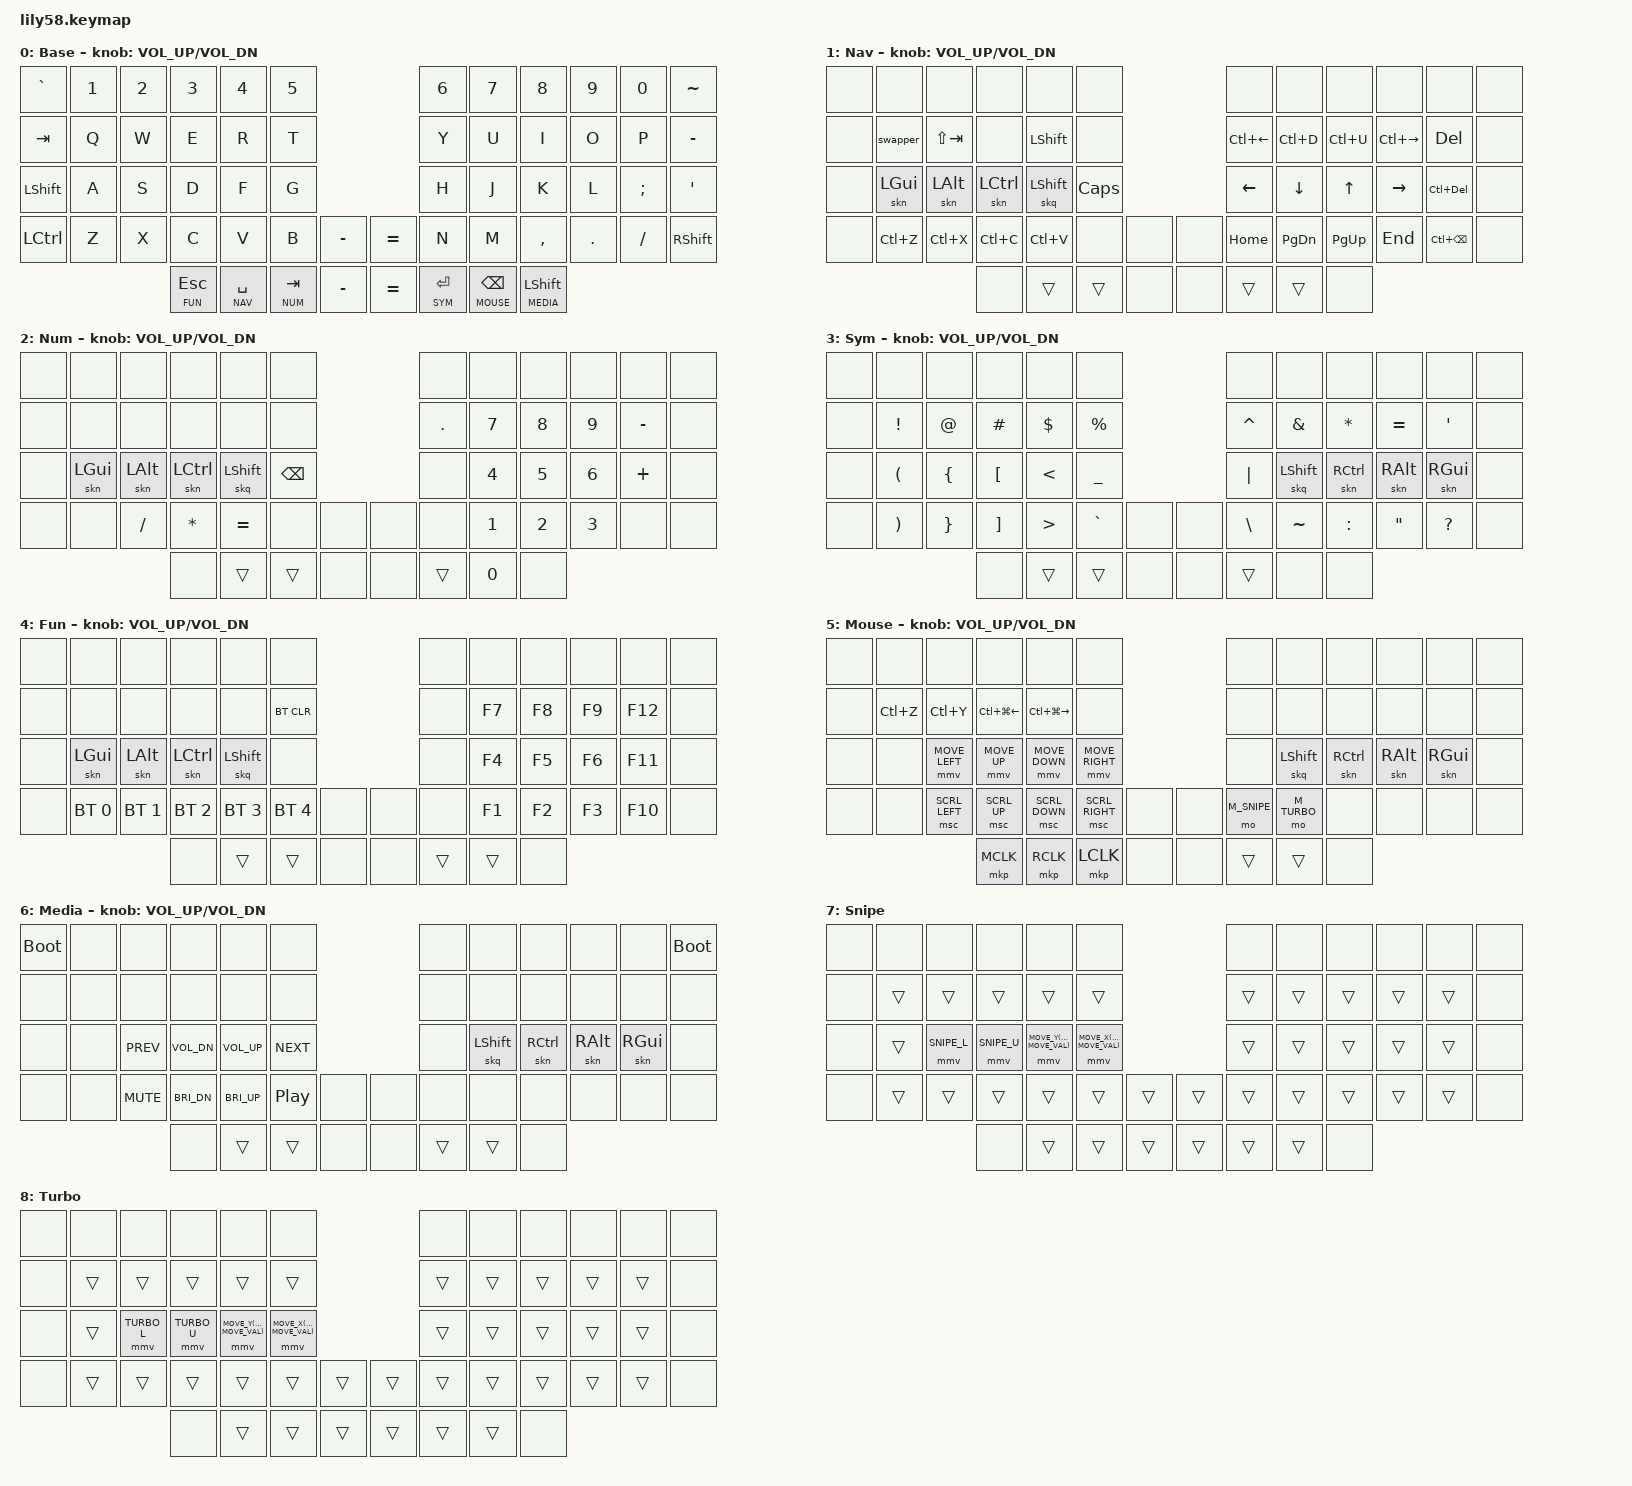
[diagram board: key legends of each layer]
/*
 * Silakka54 "双核驱动" 过渡版 (冗余常规键 + Callum OSM)
 * 进化路线：Lily58 (58键) → Corne (36键)
 *
 * 核心特色：
 * 1. 外围保留全套标准键位（物理 Shift/Ctrl/数字行）
 * 2. 核心区保留 Callum-style OSM 与 Vim 导航（追求极致编码效率）
 * 3. 严格遵循 3 拇指原则
 *
 * Layer 0: Base     - QWERTY + 外围冗余（物理 Shift/Ctrl/数字行）
 * Layer 1: Nav      - 左手 OSM 修饰键 + 右手 Vim HJKL + 跳跃 + 翻页
 * Layer 2: Numpad   - 左手算术运算 + 右手纯数字九宫格
 * Layer 3: Symbols  - 左手符号区 + 右手 OSM 修饰键
 * Layer 4: Function - 左手 OSM/BT + 右手 F 键九宫格
 * Layer 5: Mouse    - 左手鼠标移动/滚轮/点击 + 右手 OSM
 * Layer 6: Media    - 左手媒体/音量/亮度 + 右手 OSM
 *
 * SPDX-License-Identifier: MIT
 */

#include <behaviors.dtsi>
#include <dt-bindings/zmk/keys.h>
#include <dt-bindings/zmk/bt.h>
#include <dt-bindings/zmk/outputs.h>

// 必须在引入 pointing.h 之前定义，以此覆写系统默认的属性
#define ZMK_POINTING_DEFAULT_MOVE_VAL 1500  // 提高基础移动速度 (默认 600)
#define ZMK_POINTING_DEFAULT_SCRL_VAL 20    // 提高滚轮速度 (默认 10)
#include <dt-bindings/zmk/pointing.h>

// Snipe 模式：1/4 速度（精准微操）
#define SNIPE_MOVE_VAL (ZMK_POINTING_DEFAULT_MOVE_VAL / 4)
#define SNIPE_U MOVE_Y(-SNIPE_MOVE_VAL)
#define SNIPE_D MOVE_Y(SNIPE_MOVE_VAL)
#define SNIPE_L MOVE_X(-SNIPE_MOVE_VAL)
#define SNIPE_R MOVE_X(SNIPE_MOVE_VAL)

// Turbo 模式：2x 速度（快速穿梭）
#define TURBO_MOVE_VAL (ZMK_POINTING_DEFAULT_MOVE_VAL * 2)
#define TURBO_U MOVE_Y(-TURBO_MOVE_VAL)
#define TURBO_D MOVE_Y(TURBO_MOVE_VAL)
#define TURBO_L MOVE_X(-TURBO_MOVE_VAL)
#define TURBO_R MOVE_X(TURBO_MOVE_VAL)

#define BASE  0
#define NAV   1
#define NUM   2
#define SYM   3
#define FUN   4
#define MOUSE 5
#define MEDIA 6
#define M_SNIPE 7
#define M_TURBO 8

// 覆写 mmv 和 msc 的默认属性
&mmv {
    acceleration-exponent = <1>;      // 1为线性，2为二次加速
    time-to-max-speed-ms = <500>;     // 达到最大速度的时间
    delay-ms = <0>;
};

&msc {
    acceleration-exponent = <1>;      // 1为线性，2为二次加速
    time-to-max-speed-ms = <500>;     // 达到最大速度的时间
    delay-ms = <0>;
};

// Caps Word：允许连字符不中断大写（支持 MY-CONST 风格命名）
&caps_word {
    continue-list = <UNDERSCORE MINUS BSPC DEL>;
};

/ {
    behaviors {
        // Callum-style 快速释放 OSM（解决连续打字修饰键粘连）
        skq: sticky_key_quick_release {
            compatible = "zmk,behavior-sticky-key";
            #binding-cells = <1>;
            bindings = <&kp>;
            release-after-ms = <1000>;
            quick-release;
            ignore-modifiers;
        };

        // 普通 OSM（用于 Ctrl/Alt/GUI，支持链式组合）
        skn: sticky_key_normal {
            compatible = "zmk,behavior-sticky-key";
            #binding-cells = <1>;
            bindings = <&kp>;
            release-after-ms = <1000>;
            ignore-modifiers;
        };

        // 拇指专用 Layer-Tap（快速打字防误触）
        tlt: thumb_layer_tap {
            compatible = "zmk,behavior-hold-tap";
            #binding-cells = <2>;
            flavor = "balanced";
            tapping-term-ms = <200>;
            quick-tap-ms = <150>;
            bindings = <&mo>, <&kp>;
        };
    };

    macros {
        swapper: swapper {
            compatible = "zmk,behavior-macro";
            #binding-cells = <0>;
            wait-ms = <30>;
            tap-ms = <30>;
            bindings
                = <&macro_press &kp LALT>
                , <&macro_tap &kp TAB>
                , <&macro_pause_for_release>
                , <&macro_release &kp LALT>
                ;
        };
    };

    combos {
        compatible = "zmk,combos";
        // S + D = Escape（退出 Insert 模式）
        combo_esc {
            timeout-ms = <50>;
            key-positions = <26 27>;  // S 和 D 在 Lily58 矩阵中的位置
            bindings = <&kp ESC>;
            layers = <BASE>;
            require-prior-idle-ms = <200>;
        };


        // J + K = LSHFT (单次中英切换 / 长按 Shift)
        combo_lshft {
            timeout-ms = <50>;
            key-positions = <31 32>;  // J 和 K
            bindings = <&kp LSHFT>;
            layers = <BASE>;
            require-prior-idle-ms = <150>;
        };

        // 左双拇指 Combo：内侧双拇指(SPACE+TAB)同按 -> 进入 FUN 层 (ESC 已由 S+D 承载)
        combo_fun_layer {
            timeout-ms = <50>;
            key-positions = <51 52>;
            bindings = <&mo FUN>;
            layers = <BASE>;
        };

        // 右双拇指 Combo：内侧双拇指(ENTER+BSPC)同按 -> 进入 MEDIA 层 (LSHFT 已由 J+K 承载)
        combo_media_layer {
            timeout-ms = <50>;
            key-positions = <55 56>;
            bindings = <&mo MEDIA>;
            layers = <BASE>;
        };

    };

    keymap {
        compatible = "zmk,keymap";

        default_layer {
            display-name = "Base";
// ┌─────┬─────┬─────┬─────┬─────┬─────┐               ┌─────┬─────┬─────┬─────┬─────┬─────┐
// │  `  │  1  │  2  │  3  │  4  │  5  │               │  6  │  7  │  8  │  9  │  0  │  ~  │
// ├─────┼─────┼─────┼─────┼─────┼─────┤               ├─────┼─────┼─────┼─────┼─────┼─────┤
// │ TAB │  Q  │  W  │  E  │  R  │  T  │               │  Y  │  U  │  I  │  O  │  P  │  -  │
// ├─────┼─────┼─────┼─────┼─────┼─────┤               ├─────┼─────┼─────┼─────┼─────┼─────┤
// │LSHFT│  A  │  S  │  D  │  F  │  G  │               │  H  │  J  │  K  │  L  │  ;  │  '  │
// ├─────┼─────┼─────┼─────┼─────┼─────┼─────┐   ┌─────┼─────┼─────┼─────┼─────┼─────┼─────┤
// │CTRL │  Z  │  X  │  C  │  V  │  B  │  -  │   │  =  │  N  │  M  │  ,  │  .  │  /  │RSHFT│
// └─────┴─────┴─────┼─────┼─────┼─────┼─────┤   ├─────┼─────┼─────┼─────┴─────┴─────┴─────┘
//                   │ ESC │SPACE│ TAB │  -  │   │  =  │ENTER│BSPC │LSHFT│
//                   │(FUN)│(NAV)│(NUM)│     │   │     │(SYM)│(MOU)│(MED)│
//                   └─────┴─────┴─────┴─────┘   └─────┴─────┴─────┴─────┘
            bindings = <
&kp GRAVE  &kp N1 &kp N2 &kp N3        &kp N4          &kp N5                             &kp N6        &kp N7            &kp N8            &kp N9  &kp N0   &kp TILDE
&kp TAB    &kp Q  &kp W  &kp E         &kp R           &kp T                              &kp Y         &kp U             &kp I             &kp O   &kp P    &kp MINUS
&kp LSHFT  &kp A  &kp S  &kp D         &kp F           &kp G                              &kp H         &kp J             &kp K             &kp L   &kp SEMI &kp SQT
&kp LCTRL  &kp Z        &kp X  &kp C  &kp V           &kp B  &kp MINUS     &kp EQUAL     &kp N         &kp M             &kp COMMA         &kp DOT &kp FSLH &kp RSHFT
                          &tlt FUN ESC  &tlt NAV SPACE  &tlt NUM TAB   &kp MINUS  &kp EQUAL      &tlt SYM RET  &tlt MOUSE BSPC   &tlt MEDIA LSHFT
            
            >;

            sensor-bindings = <&inc_dec_kp C_VOL_UP C_VOL_DN>;
        };

        nav_layer {
            display-name = "Nav";
// ┌─────┬─────┬─────┬─────┬─────┬─────┐               ┌─────┬─────┬─────┬─────┬─────┬─────┐
// │     │     │     │     │     │     │               │     │     │     │     │     │     │
// ├─────┼─────┼─────┼─────┼─────┼─────┤               ├─────┼─────┼─────┼─────┼─────┼─────┤
// │     │ SWP │S-TAB│none │LSHFT│none │               │C(←) │ C-D │ C-U │C(→) │ DEL │     │
// ├─────┼─────┼─────┼─────┼─────┼─────┤               ├─────┼─────┼─────┼─────┼─────┼─────┤
// │     │ GUI │ ALT │CTRL │LSHFT│CAPW │               │  ←  │  ↓  │  ↑  │  →  │C(DEL)│    │
// ├─────┼─────┼─────┼─────┼─────┼─────┼─────┐   ┌─────┼─────┼─────┼─────┼─────┼─────┼─────┤
// │     │C(Z) │C(X) │C(C) │C(V) │     │none │   │none │HOME │PgDn │PgUp │ END │C(BS)│     │
// └─────┴─────┴─────┼─────┼─────┼─────┼─────┤   ├─────┼─────┼─────┼─────┴─────┴─────┴─────┘
//                   │     │▓▓▓▓▓│     │none │   │none │     │     │     │
//                   └─────┴─────┴─────┴─────┘   └─────┴─────┴─────┴─────┘
            bindings = <
&none &none     &none       &none     &none     &none                   &none       &none     &none     &none        &none       &none
&none &swapper   &kp LS(TAB)  &none    &kp LSHFT  &none                 &kp LC(LEFT) &kp LC(D)  &kp LC(U)  &kp LC(RIGHT) &kp DEL      &none
&none &skn LGUI   &skn LALT     &skn LCTRL  &skq LSHFT &kp CAPS               &kp LEFT     &kp DOWN   &kp UP     &kp RIGHT     &kp LC(DEL)  &none
&none &kp LC(Z)  &kp LC(X)    &kp LC(C)  &kp LC(V)  &none  &none    &none    &kp HOME     &kp PG_DN  &kp PG_UP  &kp END       &kp LC(BSPC) &none
                               &none     &trans     &trans &none    &none    &trans       &trans     &none
            
            >;

            sensor-bindings = <&inc_dec_kp C_VOL_UP C_VOL_DN>;
        };

        num_layer {
            display-name = "Num";
// ┌─────┬─────┬─────┬─────┬─────┬─────┐               ┌─────┬─────┬─────┬─────┬─────┬─────┐
// │     │     │     │     │     │     │               │     │     │     │     │     │     │
// ├─────┼─────┼─────┼─────┼─────┼─────┤               ├─────┼─────┼─────┼─────┼─────┼─────┤
// │     │     │     │     │     │     │               │  .  │  7  │  8  │  9  │  -  │     │
// ├─────┼─────┼─────┼─────┼─────┼─────┤               ├─────┼─────┼─────┼─────┼─────┼─────┤
// │     │ GUI │ ALT │CTRL │LSHFT│BSPC │               │     │  4  │  5  │  6  │  +  │     │
// ├─────┼─────┼─────┼─────┼─────┼─────┼─────┐   ┌─────┼─────┼─────┼─────┼─────┼─────┼─────┤
// │     │     │  /  │  *  │  =  │     │none │   │none │     │  1  │  2  │  3  │     │     │
// └─────┴─────┴─────┼─────┼─────┼─────┼─────┤   ├─────┼─────┼─────┼─────┴─────┴─────┴─────┘
//                   │     │     │▓▓▓▓▓│none │   │none │     │  0  │     │
//                   └─────┴─────┴─────┴─────┘   └─────┴─────┴─────┴─────┘
            bindings = <
&none &none    &none     &none        &none     &none                    &none &none &none &none &none    &none
&none &none    &none     &none        &none     &none                    &kp DOT &kp N7 &kp N8 &kp N9 &kp MINUS &none
&none &skn LGUI  &skn LALT  &skn LCTRL   &skq LSHFT &kp BSPC              &none  &kp N4 &kp N5 &kp N6 &kp PLUS  &none
&none &none    &kp FSLH  &kp ASTRK   &kp EQUAL &none  &none    &none   &none  &kp N1 &kp N2 &kp N3 &none     &none
                          &none       &trans    &trans &none    &none   &trans &kp N0 &none
            
            >;

            sensor-bindings = <&inc_dec_kp C_VOL_UP C_VOL_DN>;
        };

        sym_layer {
            display-name = "Sym";
// ┌─────┬─────┬─────┬─────┬─────┬─────┐               ┌─────┬─────┬─────┬─────┬─────┬─────┐
// │     │     │     │     │     │     │               │     │     │     │     │     │     │
// ├─────┼─────┼─────┼─────┼─────┼─────┤               ├─────┼─────┼─────┼─────┼─────┼─────┤
// │     │  !  │  @  │  #  │  $  │  %  │               │  ^  │  &  │  *  │  =  │  '  │     │
// ├─────┼─────┼─────┼─────┼─────┼─────┤               ├─────┼─────┼─────┼─────┼─────┼─────┤
// │     │  (  │  {  │  [  │  <  │  _  │               │  |  │LSHFT│CTRL │ ALT │ GUI │     │
// ├─────┼─────┼─────┼─────┼─────┼─────┼─────┐   ┌─────┼─────┼─────┼─────┼─────┼─────┼─────┤
// │     │  )  │  }  │  ]  │  >  │  `  │none │   │none │  \  │  ~  │  :  │  "  │  ?  │     │
// └─────┴─────┴─────┼─────┼─────┼─────┼─────┤   ├─────┼─────┼─────┼─────┴─────┴─────┴─────┘
//                   │     │     │     │none │   │none │▓▓▓▓▓│     │     │
//                   └─────┴─────┴─────┴─────┘   └─────┴─────┴─────┴─────┘
            bindings = <
&none &none    &none   &none   &none &none                    &none    &none      &none     &none      &none   &none
&none &kp EXCL  &kp AT   &kp HASH &kp DLLR &kp PRCNT             &kp CARET &kp AMPS    &kp ASTRK  &kp EQUAL   &kp SQT  &none
&none &kp LPAR  &kp LBRC &kp LBKT &kp LT   &kp UNDER             &kp PIPE  &skq LSHFT  &skn RCTRL  &skn RALT    &skn RGUI  &none
&none &kp RPAR  &kp RBRC &kp RBKT &kp GT   &kp GRAVE &none &none &kp BSLH  &kp TILDE   &kp COLON  &kp DQT     &kp QMARK &none
                          &none   &trans   &trans    &none &none &trans &none       &none
            
            >;

            sensor-bindings = <&inc_dec_kp C_VOL_UP C_VOL_DN>;
        };

        fun_layer {
            display-name = "Fun";
// ┌─────┬─────┬─────┬─────┬─────┬─────┐               ┌─────┬─────┬─────┬─────┬─────┬─────┐
// │     │     │     │     │     │     │               │     │     │     │     │     │     │
// ├─────┼─────┼─────┼─────┼─────┼─────┤               ├─────┼─────┼─────┼─────┼─────┼─────┤
// │     │CANCL│ BLE │ USB │     │BTCLR│               │     │ F7  │ F8  │ F9  │ F12 │     │
// ├─────┼─────┼─────┼─────┼─────┼─────┤               ├─────┼─────┼─────┼─────┼─────┼─────┤
// │     │ GUI │ ALT │CTRL │LSHFT│     │               │     │ F4  │ F5  │ F6  │ F11 │     │
// ├─────┼─────┼─────┼─────┼─────┼─────┼─────┐   ┌─────┼─────┼─────┼─────┼─────┼─────┼─────┤
// │     │ BT0 │ BT1 │ BT2 │ BT3 │ BT4 │none │   │none │     │ F1  │ F2  │ F3  │ F10 │     │
// └─────┴─────┴─────┼─────┼─────┼─────┼─────┤   ├─────┼─────┼─────┼─────┴─────┴─────┴─────┘
//                   │▓▓▓▓▓│     │     │none │   │none │     │     │     │
//                   └─────┴─────┴─────┴─────┘   └─────┴─────┴─────┴─────┘
            bindings = <
&none &none       &none       &none       &none       &none                       &none &none &none &none &none  &none
&none &none  &none  &none  &none        &bt BT_CLR                   &none  &kp F7 &kp F8 &kp F9 &kp F12 &none
&none &skn LGUI     &skn LALT     &skn LCTRL    &skq LSHFT   &none                       &none  &kp F4 &kp F5 &kp F6 &kp F11 &none
&none &bt BT_SEL 0 &bt BT_SEL 1 &bt BT_SEL 2 &bt BT_SEL 3 &bt BT_SEL 4   &none    &none  &none  &kp F1 &kp F2 &kp F3 &kp F10 &none
                                 &none       &trans       &trans     &none    &none   &trans &trans &none
            
            >;

            sensor-bindings = <&inc_dec_kp C_VOL_UP C_VOL_DN>;
        };

        mouse_layer {
            display-name = "Mouse";
// ┌─────┬─────┬─────┬─────┬─────┬─────┐               ┌─────┬─────┬─────┬─────┬─────┬─────┐
// │     │     │     │     │     │     │               │     │     │     │     │     │     │
// ├─────┼─────┼─────┼─────┼─────┼─────┤               ├─────┼─────┼─────┼─────┼─────┼─────┤
// │     │UNDO │REDO │VD_L │VD_R │     │               │     │     │     │     │     │     │
// ├─────┼─────┼─────┼─────┼─────┼─────┤               ├─────┼─────┼─────┼─────┼─────┼─────┤
// │     │     │ ML  │ MU  │ MD  │ MR  │               │     │LSHFT│CTRL │ ALT │ GUI │     │
// ├─────┼─────┼─────┼─────┼─────┼─────┼─────┐   ┌─────┼─────┼─────┼─────┼─────┼─────┼─────┤
// │     │     │WH_L │WH_U │WH_D │WH_R │none │   │none │SNIPE│TURBO│     │     │     │     │
// └─────┴─────┴─────┼─────┼─────┼─────┼─────┤   ├─────┼─────┼─────┼─────┴─────┴─────┴─────┘
//                   │RCLK │MCLK │LCLK │none │   │none │     │▓▓▓▓▓│     │
//                   └─────┴─────┴─────┴─────┘   └─────┴─────┴─────┴─────┘
            bindings = <
&none &none     &none     &none           &none            &none                         &none &none     &none     &none    &none    &none
&none &kp LC(Z)  &kp LC(Y)  &kp LC(LG(LEFT)) &kp LC(LG(RIGHT)) &none                          &none  &none      &none      &none     &none     &none
&none &none   &mmv MOVE_LEFT &mmv MOVE_UP  &mmv MOVE_DOWN  &mmv MOVE_RIGHT                &none  &skq LSHFT &skn RCTRL  &skn RALT  &skn RGUI  &none
&none &none   &msc SCRL_LEFT &msc SCRL_UP  &msc SCRL_DOWN  &msc SCRL_RIGHT &none   &none  &mo M_SNIPE &mo M_TURBO &none     &none     &none     &none
                                    &mkp MCLK         &mkp RCLK         &mkp LCLK       &none   &none  &trans &trans     &none
            
            >;

            sensor-bindings = <&inc_dec_kp C_VOL_UP C_VOL_DN>;
        };

        media_layer {
            display-name = "Media";
// ┌─────┬─────┬─────┬─────┬─────┬─────┐               ┌─────┬─────┬─────┬─────┬─────┬─────┐
// │BOOT │     │     │     │     │     │               │     │     │     │     │     │BOOT │
// ├─────┼─────┼─────┼─────┼─────┼─────┤               ├─────┼─────┼─────┼─────┼─────┼─────┤
// │     │     │     │     │     │     │               │     │     │     │     │     │     │
// ├─────┼─────┼─────┼─────┼─────┼─────┤               ├─────┼─────┼─────┼─────┼─────┼─────┤
// │     │     │PREV │VOL_D│VOL_U│NEXT │               │     │LSHFT│CTRL │ ALT │ GUI │     │
// ├─────┼─────┼─────┼─────┼─────┼─────┼─────┐   ┌─────┼─────┼─────┼─────┼─────┼─────┼─────┤
// │     │     │MUTE │BRI_D│BRI_U│PLAY │none │   │none │     │     │     │     │     │     │
// └─────┴─────┴─────┼─────┼─────┼─────┼─────┤   ├─────┼─────┼─────┼─────┴─────┴─────┴─────┘
//                   │     │     │     │none │   │none │     │     │▓▓▓▓▓│
//                   └─────┴─────┴─────┴─────┘   └─────┴─────┴─────┴─────┘
            bindings = <
&bootloader &none &none       &none       &none       &none                     &none  &none      &none      &none     &none     &bootloader
&none &none  &none       &none       &none       &none                     &none  &none      &none      &none     &none     &none
&none &none  &kp C_PREV  &kp C_VOL_DN &kp C_VOL_UP &kp C_NEXT            &none  &skq LSHFT &skn RCTRL  &skn RALT  &skn RGUI  &none
&none &none  &kp C_MUTE  &kp C_BRI_DN &kp C_BRI_UP &kp C_PP &none &none  &none  &none      &none      &none     &none     &none
                          &none      &trans      &trans    &none   &none  &trans &trans     &none
            
            >;

            sensor-bindings = <&inc_dec_kp C_VOL_UP C_VOL_DN>;
        };



        m_snipe_layer {
            display-name = "Snipe";
// 影子层：覆写 Mouse 层的移动键为 1/4 速度，其余键透传
            bindings = <
&none &none &none          &none         &none         &none                            &none &none &none &none &none &none
&none &trans &trans          &trans         &trans         &trans                            &trans &trans &trans &trans &trans &none
&none &trans &mmv SNIPE_L    &mmv SNIPE_U   &mmv SNIPE_D   &mmv SNIPE_R                      &trans &trans &trans &trans &trans &none
&none &trans &trans          &trans         &trans         &trans &trans &trans               &trans &trans &trans &trans &trans &none
                              &none         &trans         &trans &trans &trans               &trans &trans &none
            
            >;
        };

        m_turbo_layer {
            display-name = "Turbo";
// 影子层：覆写 Mouse 层的移动键为 2x 速度，其余键透传
            bindings = <
&none &none &none          &none         &none         &none                            &none &none &none &none &none &none
&none &trans &trans          &trans         &trans         &trans                            &trans &trans &trans &trans &trans &none
&none &trans &mmv TURBO_L    &mmv TURBO_U   &mmv TURBO_D   &mmv TURBO_R                      &trans &trans &trans &trans &trans &none
&none &trans &trans          &trans         &trans         &trans &trans &trans               &trans &trans &trans &trans &trans &none
                              &none         &trans         &trans &trans &trans               &trans &trans &none
            
            >;
        };
    };
};
